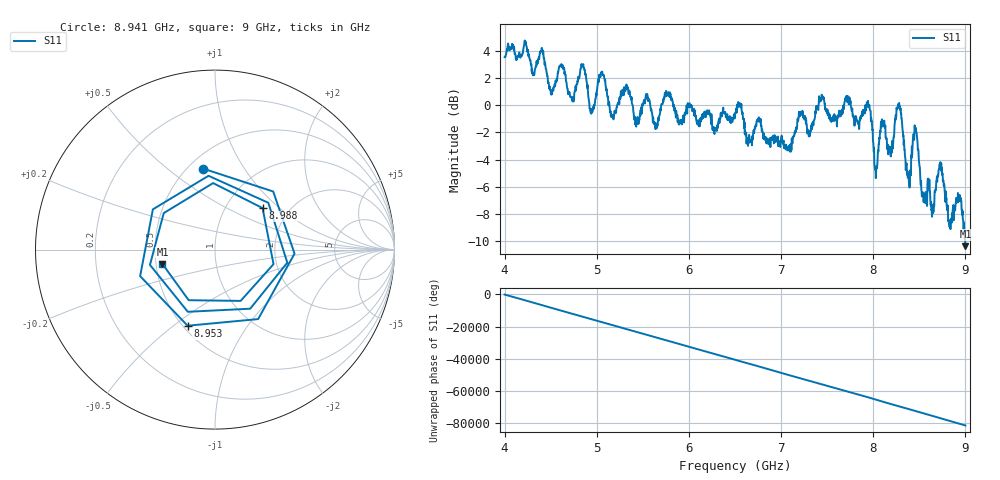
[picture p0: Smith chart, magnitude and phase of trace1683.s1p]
! Created with skrf 1.8.0 (http://scikit-rf.org).
# Hz S RI R 50.0
!freq ReS11 ImS11
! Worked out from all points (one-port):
!   1601 points, 4 GHz to 9 GHz, reference 50 ohm
!   lowest |S11| = -10.4 dB at 9 GHz (marker M1), VSWR 1.87, Z = 27.1 - j4.76 ohm
!   |S11| at or under -10 dB: 8.997323 GHz to end of sweep
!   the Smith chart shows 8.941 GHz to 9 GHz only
!   S11 on the Smith chart (normalised r, x): 8.941 GHz: 0.59, +0.67; 8.953 GHz: 0.53, -0.56; 8.988 GHz: 1.48, +0.78; 9 GHz: 0.54, -0.10
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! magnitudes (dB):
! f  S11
! 4 GHz  3.5
! 4.403 GHz  4.2
! 4.509 GHz  0.9
! 4.625 GHz  2.8
! 4.731 GHz  0.4
! 4.856 GHz  2.8
! 4.944 GHz  -0.5
! 5.05 GHz  2.4
! 5.162 GHz  -0.7
! 5.25 GHz  0.4
! 5.875 GHz  -0.7
! 6.5 GHz  -0.7
! 7.125 GHz  -2.8
! 7.438 GHz  0.4
! 7.75 GHz  0.1
! 7.947 GHz  -0.1
! 8.031 GHz  -4.9
! 8.278 GHz  0.1
! 8.375 GHz  -5.3
! 8.456 GHz  -1.8
! 8.547 GHz  -7.1
! 8.647 GHz  -7.9
! 8.728 GHz  -4.2
! 8.828 GHz  -8.9
! 8.941 GHz  -6.8
! 8.953 GHz  -6.9
! 8.988 GHz  -9.1
! 9 GHz  -10.4
